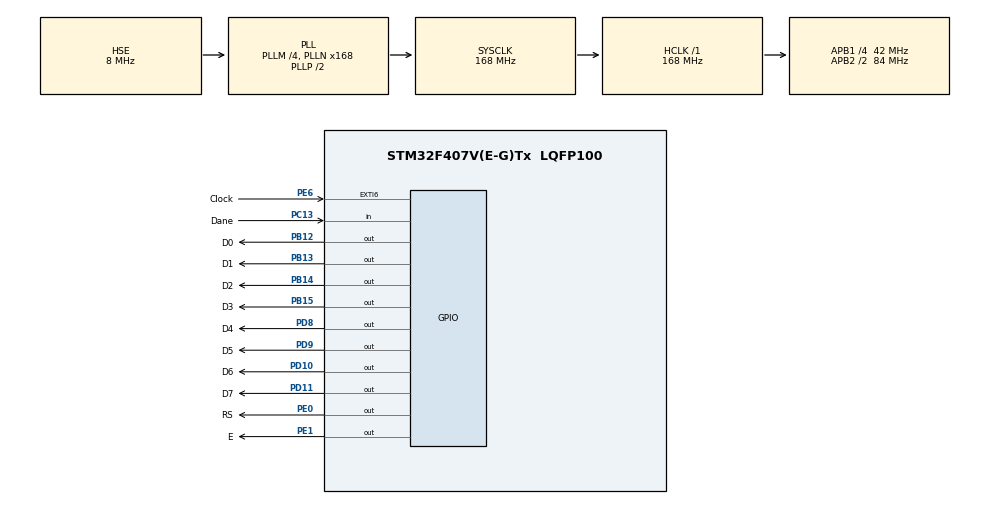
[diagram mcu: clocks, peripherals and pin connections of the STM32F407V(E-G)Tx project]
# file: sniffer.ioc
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Mcu.Family=STM32F4
Mcu.Name=STM32F407V(E-G)Tx
Mcu.Package=LQFP100
NVIC.EXTI9_5_IRQn=true\:0\:0\:false\:false\:true\:true
NVIC.PriorityGroup=NVIC_PRIORITYGROUP_4
PB12.GPIO_Label=D0
PB12.Signal=GPIO_Output
PB13.GPIO_Label=D1
PB13.Signal=GPIO_Output
PB14.GPIO_Label=D2
PB14.Signal=GPIO_Output
PB15.GPIO_Label=D3
PB15.Signal=GPIO_Output
PC13-ANTI_TAMP.GPIO_Label=Dane
PC13-ANTI_TAMP.Signal=GPIO_Input
PD10.GPIO_Label=D6
PD10.Signal=GPIO_Output
PD11.GPIO_Label=D7
PD11.Signal=GPIO_Output
PD8.GPIO_Label=D4
PD8.Signal=GPIO_Output
PD9.GPIO_Label=D5
PD9.Signal=GPIO_Output
PE0.GPIO_Label=RS
PE0.Signal=GPIO_Output
PE1.GPIO_Label=E
PE1.Signal=GPIO_Output
PE6.GPIO_Label=Clock
PE6.GPIO_ModeDefaultEXTI=GPIO_MODE_IT_FALLING
PE6.Signal=GPXTI6
PH0-OSC_IN.Mode=HSE-External-Oscillator
PH0-OSC_IN.Signal=RCC_OSC_IN
PH1-OSC_OUT.Mode=HSE-External-Oscillator
PH1-OSC_OUT.Signal=RCC_OSC_OUT
ProjectManager.HeapSize=0x200
ProjectManager.StackSize=0x400
ProjectManager.TargetToolchain=SW4STM32
RCC.48MHZClocksFreq_Value=84000000
RCC.AHBFreq_Value=168000000
RCC.APB1CLKDivider=RCC_HCLK_DIV4
RCC.APB1Freq_Value=42000000
RCC.APB1TimFreq_Value=84000000
RCC.APB2CLKDivider=RCC_HCLK_DIV2
RCC.APB2Freq_Value=84000000
RCC.APB2TimFreq_Value=168000000
RCC.CortexFreq_Value=168000000
RCC.HCLKFreq_Value=168000000
RCC.HSE_VALUE=8000000
RCC.HSI_VALUE=16000000
RCC.LSE_VALUE=32768
RCC.PLLM=4
RCC.PLLN=168
RCC.PLLSourceVirtual=RCC_PLLSOURCE_HSE
RCC.SYSCLKFreq_VALUE=168000000
RCC.SYSCLKSource=RCC_SYSCLKSOURCE_PLLCLK
RCC.VCOOutputFreq_Value=336000000
board=custom

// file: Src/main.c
/**
  ******************************************************************************
  * @file           : main.c
  * @brief          : Main program body
  ******************************************************************************
  ** This notice applies to any and all portions of this file
  * that are not between comment pairs USER CODE BEGIN and
  * USER CODE END. Other portions of this file, whether
  * inserted by the user or by software development tools
  * are owned by their respective copyright owners.
  *
  * COPYRIGHT(c) 2019 STMicroelectronics
  *
  * Redistribution and use in source and binary forms, with or without modification,
  * are permitted provided that the following conditions are met:
  *   1. Redistributions of source code must retain the above copyright notice,
  *      this list of conditions and the following disclaimer.
  *   2. Redistributions in binary form must reproduce the above copyright notice,
  *      this list of conditions and the following disclaimer in the documentation
  *      and/or other materials provided with the distribution.
  *   3. Neither the name of STMicroelectronics nor the names of its contributors
  *      may be used to endorse or promote products derived from this software
  *      without specific prior written permission.
  *
  * THIS SOFTWARE IS PROVIDED BY THE COPYRIGHT HOLDERS AND CONTRIBUTORS "AS IS"
  * AND ANY EXPRESS OR IMPLIED WARRANTIES, INCLUDING, BUT NOT LIMITED TO, THE
  * IMPLIED WARRANTIES OF MERCHANTABILITY AND FITNESS FOR A PARTICULAR PURPOSE ARE
  * DISCLAIMED. IN NO EVENT SHALL THE COPYRIGHT HOLDER OR CONTRIBUTORS BE LIABLE
  * FOR ANY DIRECT, INDIRECT, INCIDENTAL, SPECIAL, EXEMPLARY, OR CONSEQUENTIAL
  * DAMAGES (INCLUDING, BUT NOT LIMITED TO, PROCUREMENT OF SUBSTITUTE GOODS OR
  * SERVICES; LOSS OF USE, DATA, OR PROFITS; OR BUSINESS INTERRUPTION) HOWEVER
  * CAUSED AND ON ANY THEORY OF LIABILITY, WHETHER IN CONTRACT, STRICT LIABILITY,
  * OR TORT (INCLUDING NEGLIGENCE OR OTHERWISE) ARISING IN ANY WAY OUT OF THE USE
  * OF THIS SOFTWARE, EVEN IF ADVISED OF THE POSSIBILITY OF SUCH DAMAGE.
  *
  ******************************************************************************
  */
#include "main.h"
#include "stm32f4xx_hal.h"

/* USER CODE BEGIN Includes */
#include "STM_MY_LCD16X2.h"
/* USER CODE END Includes */

/* USER CODE BEGIN PV */
/* Private variables ---------------------------------------------------------*/
int liczba_sygnalow_zegara = 0;
int odebrane_bity[8];
int odebrany_znak = 0;
const char * klawiatura = "XXXXXXXXXXXXXT~XXASXXq1XXXzsaw2XXcxde43XX vftr5XXnbhgy6XXXmju78XX,kio09XX./l;p-XXX'X[=XXPSM]X\\XXXXXXXXBXXXXLXXXXXXDXRUEXX+X-*XXXX\0";
char symbol = '0';
int shift=0, caps=0;
int row=1,col=1;
char data2[2] = {};
_Bool cursor=true, blink=true;
int repeater=0, guard = 0, guard2 = 0,  guard4 = 0, guard5 = 0, guard6 = 0, enter_guard = 0,l_r_guard=0;
/* USER CODE END PV */

void SystemClock_Config(void);
static void MX_GPIO_Init(void);

/* USER CODE BEGIN PFP */
/* Private function prototypes -----------------------------------------------*/

void HAL_GPIO_EXTI_Callback(uint16_t GPIO_Pin) {
	if(liczba_sygnalow_zegara != 0 && liczba_sygnalow_zegara < 9) {
		if(HAL_GPIO_ReadPin(GPIOC, GPIO_PIN_13) == GPIO_PIN_SET) {
			odebrane_bity[liczba_sygnalow_zegara] = 1;
		} else
			odebrane_bity[liczba_sygnalow_zegara] = 0;
	} else if(liczba_sygnalow_zegara == 9) {
		odebrany_znak = BityNaZnak(odebrane_bity);
		symbol = klawiatura[odebrany_znak];
		char data[2] = {symbol, 0};

		if(shift==1 && symbol!='S'){
			switch(symbol){
			case 'P':
				break;
			case '`':
				data[0] = '~';
				break;
			case '1':
				data[0] = '!';
				break;
			case '2':
				data[0] = '@';
				break;
			case '3':
				data[0] = '#';
				break;
			case '4':
				data[0] = '$';
				break;
			case '5':
				data[0] = '%';
				break;
			case '6':
				data[0] = '^';
				break;
			case '7':
				data[0] = '&';
				break;
			case '8':
				data[0] = '*';
				break;
			case '9':
				data[0] = '(';
				break;
			case '0':
				data[0] = ')';
				break;
			case '-':
				data[0] = '_';
				break;
			case '=':
				data[0] = '+';
				break;
			case '[':
				data[0] = '{';
				break;
			case ']':
				data[0] = '}';
				break;
			case '\\':
				data[0] = '|';
				break;
			case ';':
				data[0] = ':';
				break;
			case '\'':
				data[0] = '\"';
				break;
			case ',':
				data[0] = '<';
				break;
			case '.':
				data[0] = '>';
				break;
			case '/':
				data[0] = '?';
				break;
			default: if(caps!=1  && (data[0] < 123 && data[0] > 96)) data[0]-=32;
		}} else {
			if(caps == 1 && symbol!='P' && symbol != 'S' && (data[0] < 123 && data[0] > 96) && shift != 1) {
				data[0]-=32;
			} else if(caps == 1 && symbol!='P' && symbol != 'S'  && (data[0] < 123 && data[0] > 96) && shift == 1) {
				data[0]+=32;
			} else
			if(shift==1 && symbol=='S') {
				shift = 0;
			}
			else if (symbol=='S' && shift==0 ) {
					shift=1;
				}
		}
		switch (symbol){
			case 'E' : LCD1602_clear2();
			row = 1;
			col = 1;
				break;
			case 'M' :
				if (enter_guard == 0) {
				if(row == 1) {
				row = 2; col = 1;
				LCD1602_setCursor(row, col);}
				else if (row == 2) {
					row = 1; col = 1;
					LCD1602_setCursor(row, col);
				}
				enter_guard = 1;
				} else enter_guard = 0;
				break;
			case 'U' :
					   LCD1602_setCursor(1, col);
					   row = 1;
				break;
			case 'P':
				if(guard6 == 0) {
				if(caps == 1) caps = 0;
				else caps = 1;
				guard6 = 1;
				} else guard6 = 0;
			break;
			case 'D' :
			   LCD1602_setCursor(2, col);
			   row = 2;
				break;
			case 'L' :	if(l_r_guard==0){
						naLewo();
						LCD1602_setCursor(row,col);
						l_r_guard=1;
			}
			else l_r_guard=0;
				break;
			case 'R' : 	if(l_r_guard==0){
						naPrawo();
						LCD1602_setCursor(row,col);
						l_r_guard=1;}
						else l_r_guard=0;
				break;
			case 'B' :	if (guard == 0) {
						naLewo();
						LCD1602_setCursor(row, col);
						LCD1602_print(" ");
						LCD1602_setCursor(row, col);
						guard = guard + 1;
			}
			else guard = 0;
				break;
			case 'T' : if(guard4 == 0) {
				if(cursor==true){

							LCD1602_noCursor();
							cursor=false;
						}
						else{
							LCD1602_cursor();
							cursor=true;
						}
				guard4 = 1;
			} else guard4 = 0;
				break;
			case 'A' : if(guard5 == 0) {
				if (blink == true) {

				LCD1602_noBlink();
				blink = false;
			} else {
				LCD1602_blink();
				blink = true;
			}
				guard5=1;
			} else
			guard5=0;
				break;
			case 'X' :
				break;
			case 'S' :
				break;
			default : if (repeater == 0) {
						LCD1602_print(data);
						repeater = repeater + 1;
						naPrawo();

			} else repeater = 0;

		}

		liczba_sygnalow_zegara = -2;
	}
	liczba_sygnalow_zegara += 1;
}
void naPrawo(){
	col=col+1;
	if(col==17&&row==1)	{
		col=1;
		row=2;
		LCD1602_setCursor(row, col);
	}
	else	if(col==17&&row==2){
		col=1;
		row=1;
		LCD1602_setCursor(row, col);
	}
}

void naLewo(){
	col=col-1;
	if(col==0&&row==1)	{
		col=16;
		row=2;
		LCD1602_setCursor(row, col);
	}
	else if(col==0&&row==2){
		col=16;
		row=1;
		LCD1602_setCursor(row, col);
	}
}

int BityNaZnak(int bity[]) {
	int podstawa = 1, wynik = 0;
	for(int i = 0; i < 8; i++) {
		if(bity[i] == 1)
			wynik += podstawa;
		podstawa = podstawa * 2;
	}
	return wynik/2;
}

/* USER CODE END PFP */

int main(void)
{

  /* MCU Configuration----------------------------------------------------------*/

  /* Reset of all peripherals, Initializes the Flash interface and the Systick. */
  HAL_Init();

  /* Configure the system clock */
  SystemClock_Config();

  /* Initialize all configured peripherals */
  MX_GPIO_Init();
  /* USER CODE BEGIN 2 */
  //sekwencja testowa przy odpalaniu
  LCD1602_Begin4BIT(RS_GPIO_Port,RS_Pin,E_Pin,D4_GPIO_Port,D4_Pin,D5_Pin,D6_Pin,D7_Pin);
  for(int i=0;i<10;i++) {LCD1602_PrintInt(i);HAL_Delay(300);}
  for(int i=0;i<3;i++) {LCD1602_print(".");HAL_Delay(300);}
  LCD1602_2ndLine();
  LCD1602_print("PS2 Sniffer");
  HAL_Delay(1000);
  LCD1602_clear();
  LCD1602_1stLine();
  /* USER CODE END 2 */

  /* Infinite loop */
  while (1)
  {

  }

}

void SystemClock_Config(void)
{

  RCC_OscInitTypeDef RCC_OscInitStruct;
  RCC_ClkInitTypeDef RCC_ClkInitStruct;

    /**Configure the main internal regulator output voltage
    */
  __HAL_RCC_PWR_CLK_ENABLE();

  __HAL_PWR_VOLTAGESCALING_CONFIG(PWR_REGULATOR_VOLTAGE_SCALE1);

    /**Initializes the CPU, AHB and APB busses clocks
    */
  RCC_OscInitStruct.OscillatorType = RCC_OSCILLATORTYPE_HSE;
  RCC_OscInitStruct.HSEState = RCC_HSE_ON;
  RCC_OscInitStruct.PLL.PLLState = RCC_PLL_ON;
  RCC_OscInitStruct.PLL.PLLSource = RCC_PLLSOURCE_HSE;
  RCC_OscInitStruct.PLL.PLLM = 4;
  RCC_OscInitStruct.PLL.PLLN = 168;
  RCC_OscInitStruct.PLL.PLLP = RCC_PLLP_DIV2;
  RCC_OscInitStruct.PLL.PLLQ = 4;
  if (HAL_RCC_OscConfig(&RCC_OscInitStruct) != HAL_OK)
  {
    _Error_Handler(__FILE__, __LINE__);
  }

    /**Initializes the CPU, AHB and APB busses clocks
    */
  RCC_ClkInitStruct.ClockType = RCC_CLOCKTYPE_HCLK|RCC_CLOCKTYPE_SYSCLK
                              |RCC_CLOCKTYPE_PCLK1|RCC_CLOCKTYPE_PCLK2;
  RCC_ClkInitStruct.SYSCLKSource = RCC_SYSCLKSOURCE_PLLCLK;
  RCC_ClkInitStruct.AHBCLKDivider = RCC_SYSCLK_DIV1;
  RCC_ClkInitStruct.APB1CLKDivider = RCC_HCLK_DIV4;
  RCC_ClkInitStruct.APB2CLKDivider = RCC_HCLK_DIV2;

  if (HAL_RCC_ClockConfig(&RCC_ClkInitStruct, FLASH_LATENCY_5) != HAL_OK)
  {
    _Error_Handler(__FILE__, __LINE__);
  }

    /**Configure the Systick interrupt time
    */
  HAL_SYSTICK_Config(HAL_RCC_GetHCLKFreq()/1000);

    /**Configure the Systick
    */
  HAL_SYSTICK_CLKSourceConfig(SYSTICK_CLKSOURCE_HCLK);

  /* SysTick_IRQn interrupt configuration */
  HAL_NVIC_SetPriority(SysTick_IRQn, 0, 0);
}

/** Configure pins as
        * Analog
        * Input
        * Output
        * EVENT_OUT
        * EXTI
*/
static void MX_GPIO_Init(void)
{

  GPIO_InitTypeDef GPIO_InitStruct;

  /* GPIO Ports Clock Enable */
  __HAL_RCC_GPIOE_CLK_ENABLE();
  __HAL_RCC_GPIOC_CLK_ENABLE();
  __HAL_RCC_GPIOH_CLK_ENABLE();
  __HAL_RCC_GPIOB_CLK_ENABLE();
  __HAL_RCC_GPIOD_CLK_ENABLE();

  /*Configure GPIO pin Output Level */
  HAL_GPIO_WritePin(GPIOB, D0_Pin|D1_Pin|D2_Pin|D3_Pin, GPIO_PIN_RESET);

  /*Configure GPIO pin Output Level */
  HAL_GPIO_WritePin(GPIOD, D4_Pin|D5_Pin|D6_Pin|D7_Pin, GPIO_PIN_RESET);

  /*Configure GPIO pin Output Level */
  HAL_GPIO_WritePin(GPIOE, RS_Pin|E_Pin, GPIO_PIN_RESET);

  /*Configure GPIO pin : Clock_Pin */
  GPIO_InitStruct.Pin = Clock_Pin;
  GPIO_InitStruct.Mode = GPIO_MODE_IT_FALLING;
  GPIO_InitStruct.Pull = GPIO_NOPULL;
  HAL_GPIO_Init(Clock_GPIO_Port, &GPIO_InitStruct);

  /*Configure GPIO pin : Dane_Pin */
  GPIO_InitStruct.Pin = Dane_Pin;
  GPIO_InitStruct.Mode = GPIO_MODE_INPUT;
  GPIO_InitStruct.Pull = GPIO_NOPULL;
  HAL_GPIO_Init(Dane_GPIO_Port, &GPIO_InitStruct);

  /*Configure GPIO pins : D0_Pin D1_Pin D2_Pin D3_Pin */
  GPIO_InitStruct.Pin = D0_Pin|D1_Pin|D2_Pin|D3_Pin;
  GPIO_InitStruct.Mode = GPIO_MODE_OUTPUT_PP;
  GPIO_InitStruct.Pull = GPIO_NOPULL;
  GPIO_InitStruct.Speed = GPIO_SPEED_FREQ_LOW;
  HAL_GPIO_Init(GPIOB, &GPIO_InitStruct);

  /*Configure GPIO pins : D4_Pin D5_Pin D6_Pin D7_Pin */
  GPIO_InitStruct.Pin = D4_Pin|D5_Pin|D6_Pin|D7_Pin;
  GPIO_InitStruct.Mode = GPIO_MODE_OUTPUT_PP;
  GPIO_InitStruct.Pull = GPIO_NOPULL;
  GPIO_InitStruct.Speed = GPIO_SPEED_FREQ_LOW;
  HAL_GPIO_Init(GPIOD, &GPIO_InitStruct);

  /*Configure GPIO pins : RS_Pin E_Pin */
  GPIO_InitStruct.Pin = RS_Pin|E_Pin;
  GPIO_InitStruct.Mode = GPIO_MODE_OUTPUT_PP;
  GPIO_InitStruct.Pull = GPIO_NOPULL;
  GPIO_InitStruct.Speed = GPIO_SPEED_FREQ_LOW;
  HAL_GPIO_Init(GPIOE, &GPIO_InitStruct);

  /* EXTI interrupt init*/
  HAL_NVIC_SetPriority(EXTI9_5_IRQn, 0, 0);
  HAL_NVIC_EnableIRQ(EXTI9_5_IRQn);

}

void _Error_Handler(char *file, int line)
{
  while(1)
  {
  }
}

/************************ (C) COPYRIGHT STMicroelectronics *****END OF FILE****/
